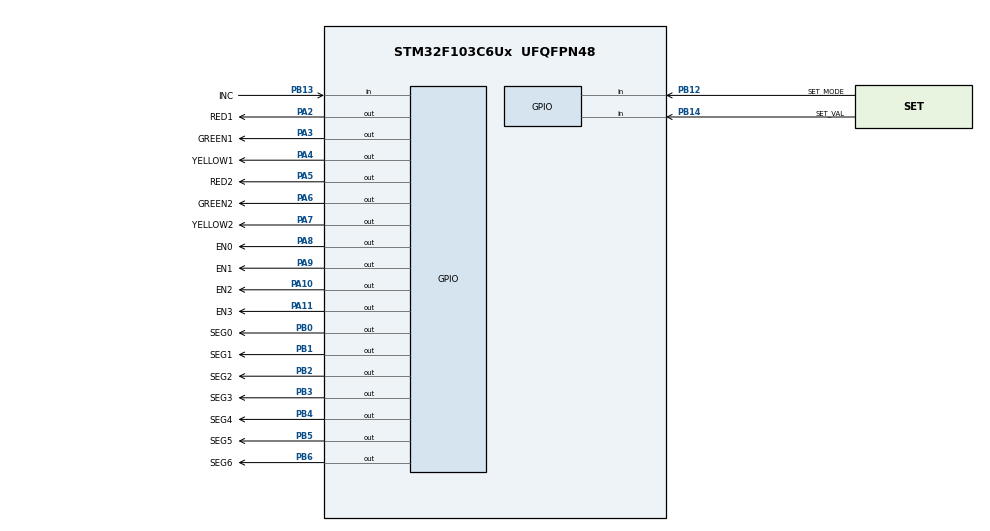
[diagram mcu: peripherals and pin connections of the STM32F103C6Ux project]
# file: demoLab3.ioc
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Mcu.Family=STM32F1
Mcu.Name=STM32F103C6Ux
Mcu.Package=UFQFPN48
NVIC.PriorityGroup=NVIC_PRIORITYGROUP_4
NVIC.TIM2_IRQn=true\:0\:0\:false\:false\:true\:true\:true
PA10.GPIO_Label=EN2
PA10.Signal=GPIO_Output
PA11.GPIO_Label=EN3
PA11.Signal=GPIO_Output
PA2.GPIO_Label=RED1
PA2.Signal=GPIO_Output
PA3.GPIO_Label=GREEN1
PA3.Signal=GPIO_Output
PA4.GPIO_Label=YELLOW1
PA4.Signal=GPIO_Output
PA5.GPIO_Label=RED2
PA5.Signal=GPIO_Output
PA6.GPIO_Label=GREEN2
PA6.Signal=GPIO_Output
PA7.GPIO_Label=YELLOW2
PA7.Signal=GPIO_Output
PA8.GPIO_Label=EN0
PA8.Signal=GPIO_Output
PA9.GPIO_Label=EN1
PA9.Signal=GPIO_Output
PB0.GPIO_Label=SEG0
PB0.Signal=GPIO_Output
PB1.GPIO_Label=SEG1
PB1.Signal=GPIO_Output
PB12.GPIO_Label=SET_MODE
PB12.Signal=GPIO_Input
PB13.GPIO_Label=INC
PB13.Signal=GPIO_Input
PB14.GPIO_Label=SET_VAL
PB14.Signal=GPIO_Input
PB2.GPIO_Label=SEG2
PB2.Signal=GPIO_Output
PB3.GPIO_Label=SEG3
PB3.Signal=GPIO_Output
PB4.GPIO_Label=SEG4
PB4.Signal=GPIO_Output
PB5.GPIO_Label=SEG5
PB5.Signal=GPIO_Output
PB6.GPIO_Label=SEG6
PB6.Signal=GPIO_Output
ProjectManager.HeapSize=0x200
ProjectManager.StackSize=0x400
ProjectManager.TargetToolchain=STM32CubeIDE
RCC.APB1Freq_Value=8000000
RCC.APB2Freq_Value=8000000
TIM2.Period=9
TIM2.Prescaler=7999
VP_SYS_VS_ND.Mode=No_Debug
VP_TIM2_VS_ClockSourceINT.Mode=Internal
board=custom

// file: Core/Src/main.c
/* USER CODE BEGIN Header */
/**
  ******************************************************************************
  * @file           : main.c
  * @brief          : Main program body
  ******************************************************************************
  * @attention
  *
  * <h2><center>&copy; Copyright (c) 2023 STMicroelectronics.
  * All rights reserved.</center></h2>
  *
  * This software component is licensed by ST under BSD 3-Clause license,
  * the "License"; You may not use this file except in compliance with the
  * License. You may obtain a copy of the License at:
  *                        opensource.org/licenses/BSD-3-Clause
  *
  ******************************************************************************
  */
/* USER CODE END Header */
#include "main.h"
#include "fsm_automatic.h"
#include "fsm_manual.h"

TIM_HandleTypeDef htim2;

void SystemClock_Config(void);
static void MX_GPIO_Init(void);
static void MX_TIM2_Init(void);

int main(void)
{

  /* MCU Configuration--------------------------------------------------------*/

  /* Reset of all peripherals, Initializes the Flash interface and the Systick. */
  HAL_Init();

  /* Configure the system clock */
  SystemClock_Config();

  /* USER CODE BEGIN SysInit */
  HAL_TIM_Base_Start_IT(&htim2);
  /* USER CODE END SysInit */

  /* Initialize all configured peripherals */
  MX_GPIO_Init();
  MX_TIM2_Init();
  /* USER CODE BEGIN 2 */
  setTimer3(1);
  setTimer4(1);
  timerRoad1 = r_val;
  timerRoad2 = g_val;
  r_inc=r_val;
  g_inc=g_val;
  y_inc=y_val;

  setTimer3(1); // used for update LED buffer
  setTimer4(1); // used for update LED signal
  /* USER CODE END 2 */

  /* Infinite loop */
  /* USER CODE BEGIN WHILE */
  //
  led_status = INIT;
  while (1)
    {
  	  if (timer3_flag == 1){
  		  setTimer3(10);
  		  updateLedBuffer();
  	  }
  	  if (timer4_flag == 1){
  		  setTimer4(25);
  		  displaySignal(index_led++);
  		  if (index_led >= 4) index_led=0;
  	  }
  	  fsm_auto_traffic_light();
  	  fsm_manual_run();
    /* USER CODE END WHILE */

  }
}

void SystemClock_Config(void)
{
  RCC_OscInitTypeDef RCC_OscInitStruct = {0};
  RCC_ClkInitTypeDef RCC_ClkInitStruct = {0};

  /** Initializes the RCC Oscillators according to the specified parameters
  * in the RCC_OscInitTypeDef structure.
  */
  RCC_OscInitStruct.OscillatorType = RCC_OSCILLATORTYPE_HSI;
  RCC_OscInitStruct.HSIState = RCC_HSI_ON;
  RCC_OscInitStruct.HSICalibrationValue = RCC_HSICALIBRATION_DEFAULT;
  RCC_OscInitStruct.PLL.PLLState = RCC_PLL_NONE;
  if (HAL_RCC_OscConfig(&RCC_OscInitStruct) != HAL_OK)
  {
    Error_Handler();
  }
  /** Initializes the CPU, AHB and APB buses clocks
  */
  RCC_ClkInitStruct.ClockType = RCC_CLOCKTYPE_HCLK|RCC_CLOCKTYPE_SYSCLK
                              |RCC_CLOCKTYPE_PCLK1|RCC_CLOCKTYPE_PCLK2;
  RCC_ClkInitStruct.SYSCLKSource = RCC_SYSCLKSOURCE_HSI;
  RCC_ClkInitStruct.AHBCLKDivider = RCC_SYSCLK_DIV1;
  RCC_ClkInitStruct.APB1CLKDivider = RCC_HCLK_DIV1;
  RCC_ClkInitStruct.APB2CLKDivider = RCC_HCLK_DIV1;

  if (HAL_RCC_ClockConfig(&RCC_ClkInitStruct, FLASH_LATENCY_0) != HAL_OK)
  {
    Error_Handler();
  }
}

static void MX_TIM2_Init(void)
{

  TIM_ClockConfigTypeDef sClockSourceConfig = {0};
  TIM_MasterConfigTypeDef sMasterConfig = {0};

  htim2.Instance = TIM2;
  htim2.Init.Prescaler = 7999;
  htim2.Init.CounterMode = TIM_COUNTERMODE_UP;
  htim2.Init.Period = 9;
  htim2.Init.ClockDivision = TIM_CLOCKDIVISION_DIV1;
  htim2.Init.AutoReloadPreload = TIM_AUTORELOAD_PRELOAD_DISABLE;
  if (HAL_TIM_Base_Init(&htim2) != HAL_OK)
  {
    Error_Handler();
  }
  sClockSourceConfig.ClockSource = TIM_CLOCKSOURCE_INTERNAL;
  if (HAL_TIM_ConfigClockSource(&htim2, &sClockSourceConfig) != HAL_OK)
  {
    Error_Handler();
  }
  sMasterConfig.MasterOutputTrigger = TIM_TRGO_RESET;
  sMasterConfig.MasterSlaveMode = TIM_MASTERSLAVEMODE_DISABLE;
  if (HAL_TIMEx_MasterConfigSynchronization(&htim2, &sMasterConfig) != HAL_OK)
  {
    Error_Handler();
  }

}

static void MX_GPIO_Init(void)
{
  GPIO_InitTypeDef GPIO_InitStruct = {0};

  /* GPIO Ports Clock Enable */
  __HAL_RCC_GPIOA_CLK_ENABLE();
  __HAL_RCC_GPIOB_CLK_ENABLE();

  /*Configure GPIO pin Output Level */
  HAL_GPIO_WritePin(GPIOA, RED1_Pin|GREEN1_Pin|YELLOW1_Pin|RED2_Pin
                          |GREEN2_Pin|YELLOW2_Pin|EN0_Pin|EN1_Pin
                          |EN2_Pin|EN3_Pin, GPIO_PIN_RESET);

  /*Configure GPIO pin Output Level */
  HAL_GPIO_WritePin(GPIOB, SEG0_Pin|SEG1_Pin|SEG2_Pin|SEG3_Pin
                          |SEG4_Pin|SEG5_Pin|SEG6_Pin, GPIO_PIN_RESET);

  /*Configure GPIO pins : RED1_Pin GREEN1_Pin YELLOW1_Pin RED2_Pin
                           GREEN2_Pin YELLOW2_Pin EN0_Pin EN1_Pin
                           EN2_Pin EN3_Pin */
  GPIO_InitStruct.Pin = RED1_Pin|GREEN1_Pin|YELLOW1_Pin|RED2_Pin
                          |GREEN2_Pin|YELLOW2_Pin|EN0_Pin|EN1_Pin
                          |EN2_Pin|EN3_Pin;
  GPIO_InitStruct.Mode = GPIO_MODE_OUTPUT_PP;
  GPIO_InitStruct.Pull = GPIO_NOPULL;
  GPIO_InitStruct.Speed = GPIO_SPEED_FREQ_LOW;
  HAL_GPIO_Init(GPIOA, &GPIO_InitStruct);

  /*Configure GPIO pins : SEG0_Pin SEG1_Pin SEG2_Pin SEG3_Pin
                           SEG4_Pin SEG5_Pin SEG6_Pin */
  GPIO_InitStruct.Pin = SEG0_Pin|SEG1_Pin|SEG2_Pin|SEG3_Pin
                          |SEG4_Pin|SEG5_Pin|SEG6_Pin;
  GPIO_InitStruct.Mode = GPIO_MODE_OUTPUT_PP;
  GPIO_InitStruct.Pull = GPIO_NOPULL;
  GPIO_InitStruct.Speed = GPIO_SPEED_FREQ_LOW;
  HAL_GPIO_Init(GPIOB, &GPIO_InitStruct);

  /*Configure GPIO pins : SET_MODE_Pin INC_Pin SET_VAL_Pin */
  GPIO_InitStruct.Pin = SET_MODE_Pin|INC_Pin|SET_VAL_Pin;
  GPIO_InitStruct.Mode = GPIO_MODE_INPUT;
  GPIO_InitStruct.Pull = GPIO_NOPULL;
  HAL_GPIO_Init(GPIOB, &GPIO_InitStruct);

}

/* USER CODE BEGIN 4 */
void HAL_TIM_PeriodElapsedCallback(TIM_HandleTypeDef *htim){
	timerRun();
	getKeyInput();
}
/* USER CODE END 4 */

void Error_Handler(void)
{
  __disable_irq();
  while (1)
  {
  }
}

/************************ (C) COPYRIGHT STMicroelectronics *****END OF FILE****/
